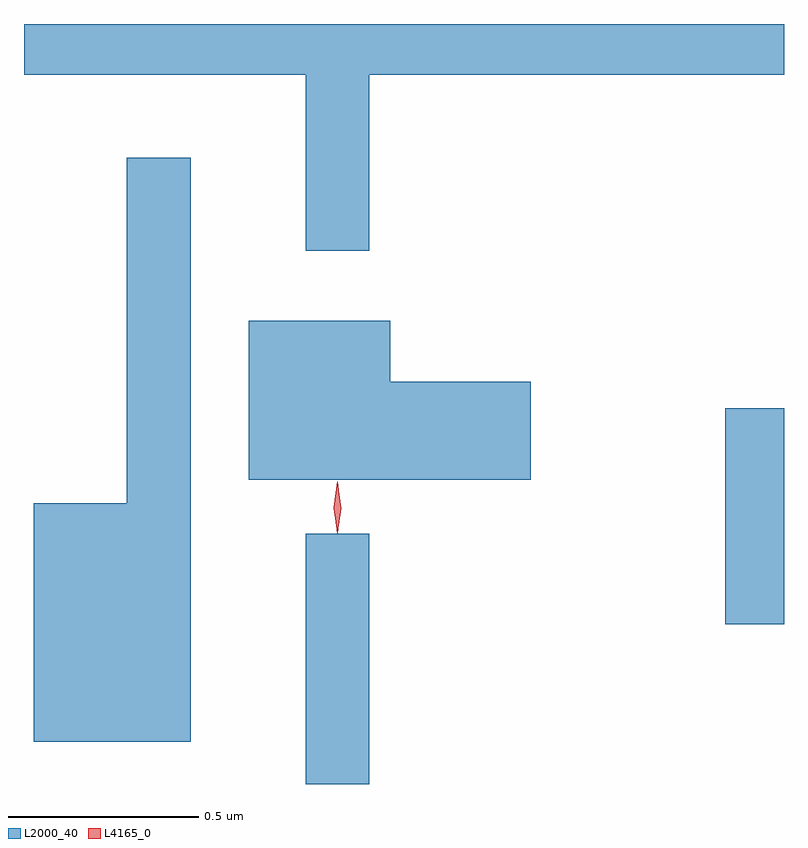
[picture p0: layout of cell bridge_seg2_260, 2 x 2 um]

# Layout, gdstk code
import gdstk
lib = gdstk.Library(unit=1e-6, precision=1e-09)
def R(c, l, rs):  # rectangles x0, y0, x1, y1
    for r in rs: c.add(gdstk.rectangle(r[:2], r[2:], *l))
def P(c, l, *ps):  # polygons
    for p in ps: c.add(gdstk.Polygon(p, *l))
L2000_40 = (2000, 40)
L4165_0 = (4165, 0)

bridge_seg2_260 = lib.new_cell('bridge_seg2_260')
R(bridge_seg2_260, L2000_40, [(486.111,1097.51,486.279,1098.168), (487.216,1097.931,487.37,1098.499)])
P(bridge_seg2_260, L2000_40, [(486.279,1099.376),(487.37,1099.376),(487.37,1099.51),(485.37,1099.51),(485.37,1099.376),(486.111,1099.376),(486.111,1098.913),(486.279,1098.913)],
  [(485.809,1099.158),(485.641,1099.158),(485.641,1098.249),(485.396,1098.249),(485.396,1097.621),(485.809,1097.621)],
  [(486.704,1098.569),(486.334,1098.569),(486.334,1098.729),(485.961,1098.729),(485.961,1098.311),(486.704,1098.311)])
P(bridge_seg2_260, L4165_0, [(486.194,1098.17),(486.185,1098.238),(486.194,1098.305),(486.194,1098.306),(486.195,1098.305),(486.204,1098.238),(486.196,1098.17),(486.195,1098.17)],
  [(486.195,1098.173),(486.194,1098.174),(486.185,1098.236),(486.194,1098.3),(486.194,1098.3),(486.195,1098.3),(486.205,1098.236),(486.196,1098.174)])

lib.write_gds('bridge_seg2_260.gds')
